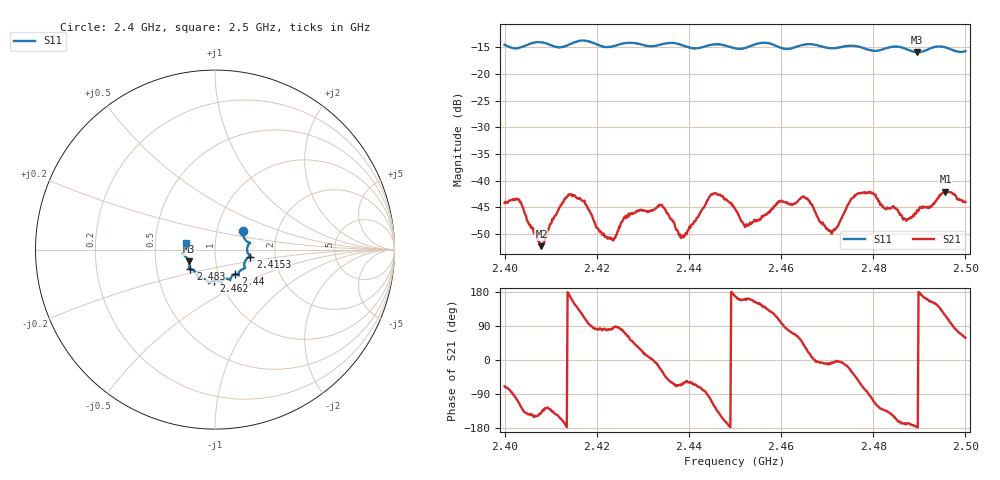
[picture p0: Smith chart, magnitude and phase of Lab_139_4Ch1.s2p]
# Hz S RI R 50
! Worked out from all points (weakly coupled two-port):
!   601 points, 2.4 GHz to 2.5 GHz, reference 50 ohm
!   highest |S21| = -42.05 dB at 2.4957 GHz (marker M1); lowest = -52.3 dB at 2.408 GHz (marker M2)
!   lowest |S11| = -15.9 dB at 2.4895 GHz (marker M3), VSWR 1.38, Z = 37 - j5 ohm
!   |S11| at or under -10 dB: start of sweep to end of sweep
!   S12 and S22 are empty: the file has one direction only
!   S11 on the Smith chart (normalised r, x): 2.4 GHz: 1.33, +0.29; 2.4153 GHz: 1.48, -0.12; 2.44 GHz: 1.20, -0.34; 2.462 GHz: 0.93, -0.33; 2.483 GHz: 0.74, -0.17; 2.5 GHz: 0.72, +0.06
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2.4e9  0.1552 0.1064  0.00218 -0.00581  0 0  0 0
2.403167e9  0.167 0.057  -0.00275 -0.00607  0 0  0 0
2.408e9  0.1953 0.0376  -0.00181 -0.00163  0 0  0 0
2.415333e9  0.1965 -0.0384  -0.00579 0.00415  0 0  0 0
2.416667e9  0.2023 -0.0425  -0.00363 0.00551  0 0  0 0
2.423167e9  0.1631 -0.0781  0.000482 0.00282  0 0  0 0
2.4265e9  0.1677 -0.1016  0.00192 0.00423  0 0  0 0
2.433333e9  0.1313 -0.1333  0.00557 -0.00145  0 0  0 0
2.438333e9  0.127 -0.1389  0.00126 -0.00262  0 0  0 0
2.44e9  0.1139 -0.1368  0.00181 -0.00306  0 0  0 0
2.445167e9  0.0848 -0.1694  -0.00309 -0.00689  0 0  0 0
2.45e9  0.0646 -0.1626  -0.00538 0.00115  0 0  0 0
2.4525e9  0.0409 -0.1727  -0.00366 0.0014  0 0  0 0
2.462e9  -0.00518 -0.1732  0.00164 0.00582  0 0  0 0
2.466667e9  -0.0344 -0.1876  0.006 0.000754  0 0  0 0
2.470833e9  -0.0566 -0.1654  0.00329 -0.000415  0 0  0 0
2.476833e9  -0.0956 -0.1539  0.00423 -0.00629  0 0  0 0
2.483e9  -0.1375 -0.1097  -0.00402 -0.00391  0 0  0 0
2.483333e9  -0.1401 -0.1094  -0.00411 -0.00369  0 0  0 0
2.4895e9  -0.1462 -0.0659  -0.00528 -0.000273  0 0  0 0
2.495667e9  -0.177 -0.017  -0.00364 0.00701  0 0  0 0
2.5e9  -0.1598 0.0392  0.00327 0.0054  0 0  0 0
